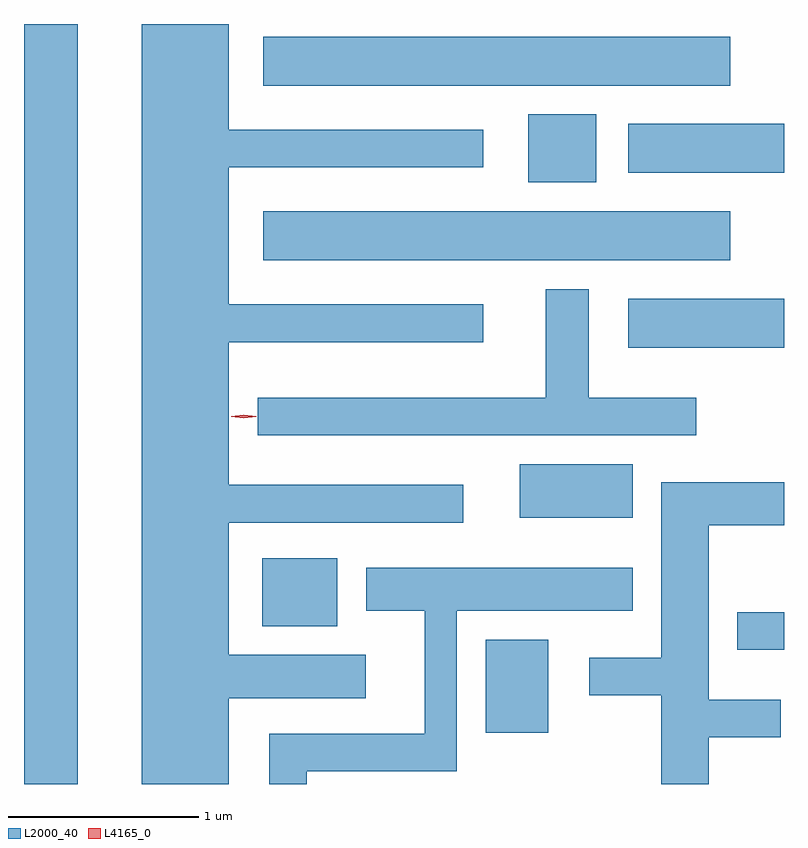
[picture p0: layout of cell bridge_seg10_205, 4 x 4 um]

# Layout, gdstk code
import gdstk
lib = gdstk.Library(unit=1e-6, precision=1e-09)
def R(c, l, rs):  # rectangles x0, y0, x1, y1
    for r in rs: c.add(gdstk.rectangle(r[:2], r[2:], *l))
def P(c, l, *ps):  # polygons
    for p in ps: c.add(gdstk.Polygon(p, *l))
L2000_40 = (2000, 40)
L4165_0 = (4165, 0)

bridge_seg10_205 = lib.new_cell('bridge_seg10_205')
R(bridge_seg10_205, L2000_40, [(1749.451,2125.39,1749.734,2129.39), (1751.881,2125.661,1752.209,2126.149), (1753.206,2126.096,1753.451,2126.294), (1750.706,2126.221,1751.099,2126.579), (1752.061,2126.791,1752.654,2127.074), (1752.631,2127.686,1753.451,2127.944), (1750.711,2128.146,1753.169,2128.404), (1752.106,2128.556,1752.464,2128.914), (1752.631,2128.606,1753.451,2128.864), (1750.711,2129.066,1753.169,2129.324)])
P(bridge_seg10_205, L2000_40, [(1750.529,2125.841),(1751.249,2125.841),(1751.249,2126.069),(1750.529,2126.069),(1750.529,2126.766),(1751.764,2126.766),(1751.764,2126.964),(1750.529,2126.964),(1750.529,2127.716),(1751.869,2127.716),(1751.869,2127.914),(1750.529,2127.914),(1750.529,2128.636),(1751.869,2128.636),(1751.869,2128.834),(1750.529,2128.834),(1750.529,2129.39),(1750.071,2129.39),(1750.071,2125.39),(1750.529,2125.39)],
  [(1752.989,2127.424),(1752.424,2127.424),(1752.424,2127.994),(1752.196,2127.994),(1752.196,2127.424),(1750.681,2127.424),(1750.681,2127.226),(1752.989,2127.226)],
  [(1753.054,2125.636),(1753.434,2125.636),(1753.434,2125.834),(1753.054,2125.834),(1753.054,2126.751),(1753.451,2126.751),(1753.451,2126.979),(1752.806,2126.979),(1752.806,2126.054),(1752.426,2126.054),(1752.426,2125.856),(1752.806,2125.856),(1752.806,2125.39),(1753.054,2125.39)],
  [(1750.939,2125.456),(1751.729,2125.456),(1751.729,2126.301),(1752.654,2126.301),(1752.654,2126.529),(1751.251,2126.529),(1751.251,2126.301),(1751.561,2126.301),(1751.561,2125.654),(1750.741,2125.654),(1750.741,2125.39),(1750.939,2125.39)])
P(bridge_seg10_205, L4165_0, [(1750.608,2127.314),(1750.543,2127.324),(1750.542,2127.324),(1750.543,2127.325),(1750.608,2127.334),(1750.674,2127.325),(1750.674,2127.324),(1750.674,2127.324)])

lib.write_gds('bridge_seg10_205.gds')
